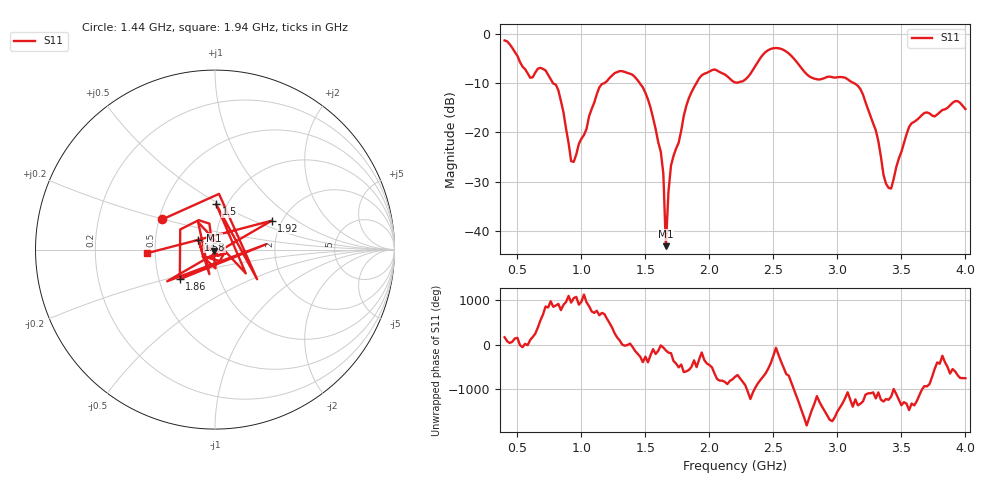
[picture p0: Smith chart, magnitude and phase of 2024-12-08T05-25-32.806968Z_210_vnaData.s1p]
!Created with skrf (http://scikit-rf.org).
# Hz S RI R 50.0
!freq ReS11 ImS11
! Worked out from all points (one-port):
!   181 points, 400 MHz to 4 GHz, reference 50 ohm
!   lowest |S11| = -43.1 dB at 1.66 GHz (marker M1), VSWR 1.01, Z = 49.5 - j0.519 ohm
!   |S11| at or under -10 dB: 778.5 MHz to 1.177 GHz (398.2 MHz wide, 40.7 % of centre); 1.456 GHz to 1.898 GHz (442 MHz wide, 26.4 % of centre); 3.13 GHz to end of sweep
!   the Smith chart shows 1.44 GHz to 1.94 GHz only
!   S11 on the Smith chart (normalised r, x): 1.44 GHz: 0.52, +0.20; 1.5 GHz: 0.89, +0.48; 1.58 GHz: 0.83, +0.09; 1.86 GHz: 0.64, -0.23; 1.92 GHz: 1.77, +0.65; 1.94 GHz: 0.45, -0.02
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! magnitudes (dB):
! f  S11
! 400 MHz  -1.3
! 600 MHz  -8.9
! 720 MHz  -7.4
! 860 MHz  -15.9
! 920 MHz  -25.8
! 940 MHz  -26.0
! 1.14 GHz  -10.8
! 1.3 GHz  -7.5
! 1.44 GHz  -9.4
! 1.5 GHz  -11.9
! 1.58 GHz  -19.3
! 1.64 GHz  -28.3
! 1.66 GHz  -43.1
! 1.68 GHz  -32.0
! 1.7 GHz  -26.7
! 1.76 GHz  -22.1
! 1.86 GHz  -11.8
! 1.92 GHz  -9.0
! 1.94 GHz  -8.4
! 2.2 GHz  -9.8
! 2.48 GHz  -3.0
! 2.66 GHz  -5.0
! 2.8 GHz  -8.9
! 3.1 GHz  -9.6
! 3.2 GHz  -12.3
! 3.4 GHz  -31.3
! 3.56 GHz  -18.9
! 4 GHz  -15.2
